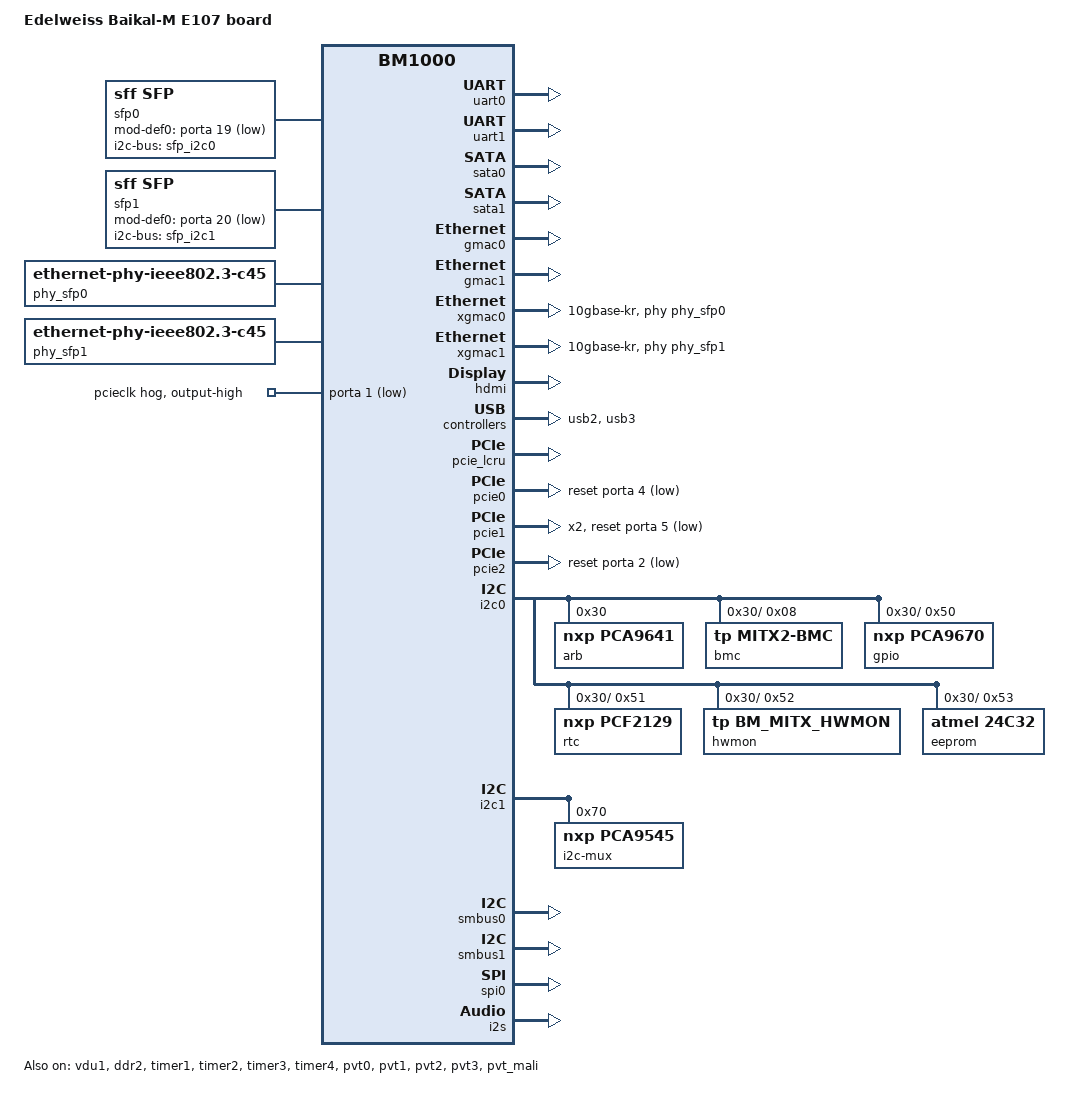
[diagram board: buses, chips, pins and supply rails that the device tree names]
// SPDX-License-Identifier: GPL-2.0
/*
 * Baikal-M Mini-ITX board device tree (test version)
 *
 */

/dts-v1/;

#include "bm1000.dtsi"

/ {

	model = "Edelweiss Baikal-M E107 board";
	compatible = "baikal,baikal-m";
	#address-cells = <2>;
	#size-cells = <2>;

	chosen { };

	sfp0: sfp0 {
		compatible = "sff,sfp";
		i2c-bus = <&sfp_i2c0>;
		mod-def0-gpios = <&porta 19 GPIO_ACTIVE_LOW>;
	};
	sfp1: sfp1 {
		compatible = "sff,sfp";
		i2c-bus = <&sfp_i2c1>;
		mod-def0-gpios = <&porta 20 GPIO_ACTIVE_LOW>;
	};
	phy_sfp0: xphy0 {
		compatible = "ethernet-phy-ieee802.3-c45";
		amd,speed-set = <0>;
		sfp = <&sfp0>;
	};
	phy_sfp1: xphy1 {
		compatible = "ethernet-phy-ieee802.3-c45";
		amd,speed-set = <0>;
		sfp = <&sfp1>;
	};
};

&cmu_cluster0 {
	clock-frequency = <1500000000>;
};

&cmu_cluster1 {
	clock-frequency = <1500000000>;
};

&cmu_cluster2 {
	clock-frequency = <1500000000>;
};

&cmu_cluster3 {
	clock-frequency = <1500000000>;
};

&uart0 {
	status = "okay";
};

&uart1 {
	status = "okay";
};

&sata0 {
	status = "okay";
};

&sata1 {
	status = "okay";
};

&gmac0 {
	status = "okay";
};

&gmac1 {
	status = "okay";
};

&xgmac0 {
	status = "okay";
	phy-handle = <&phy_sfp0>;
	phy-mode = "10gbase-kr";
	dma-coherent;
};

&xgmac1 {
	status = "okay";
	phy-handle = <&phy_sfp1>;
	phy-mode = "10gbase-kr";
	dma-coherent;
};

&hdmi {
	status = "okay";
};

&vdu1 {
	status = "okay";
};

&gpio {
	status = "okay";
};

&ddr2 {
	status = "okay";
};

&gpu {
	system-coherency = <0>;
};

&usb2 {
	status = "okay";
};

&usb3 {
	status = "okay";
};

&pcie_lcru {
	status = "okay";
};

&pcie0 {
	status = "okay";
	reset-gpios = <&porta 4 GPIO_ACTIVE_LOW>;
};

&pcie1 {
	status = "okay";
	reset-gpios = <&porta 5 GPIO_ACTIVE_LOW>;
	num-lanes = <2>;
};

&pcie2 {
	status = "okay";
	reset-gpios = <&porta 2 GPIO_ACTIVE_LOW>;
};

&timer1 {
	status = "okay";
};

&timer2 {
	status = "okay";
};

&timer3 {
	status = "okay";
};

&timer4 {
	status = "okay";
};

&pvt0 {
	status = "okay";
};

&pvt1 {
	status = "okay";
};

&pvt2 {
	status = "okay";
};

&pvt3 {
	status = "okay";
};

&pvt_mali {
	status = "okay";
};

&i2c0 {
	status = "okay";

	arb@30 {
		compatible = "nxp,pca9641";
		reg = <0x30>;

		i2c-arb {
			#address-cells = <1>;
			#size-cells = <0>;

			bmc@8 {
				compatible = "tp,mitx2-bmc", "t-platforms,mitx2-bmc";
				reg = <0x08>;
			};

			gpio@50 {
				compatible = "nxp,pca9670";
				#gpio-cells = <2>;
				gpio-controller;
				reg = <0x50>;
			};

			rtc@51 {
				compatible = "nxp,pcf2129", "nxp,pcf2127";
				reg = <0x51>;
			};

			hwmon@52 {
				compatible = "tp,bm_mitx_hwmon";
				reg = <0x52>;
			};

			eeprom@53 {
				compatible = "atmel,24c32";
				pagesize = <32>;
				reg = <0x53>;
			};
		};
	};
};

&i2c1 {
	status = "okay";

	i2c-mux@70 {
		compatible = "nxp,pca9545";
		#address-cells = <1>;
		#size-cells = <0>;
		reg = <0x70>;

		i2c@0 { /* M2_I2C */
			#address-cells = <1>;
			#size-cells = <0>;
			reg = <0>;
		};

		sfp_i2c0: i2c@1 { /* XGBE0 SFP */
			#address-cells = <1>;
			#size-cells = <0>;
			reg = <1>;
		};

		sfp_i2c1: i2c@2 { /* XGBE1 SFP */
			#address-cells = <1>;
			#size-cells = <0>;
			reg = <2>;
		};
	};
};

&smbus0 {
	status = "okay";
};

&smbus1 {
	status = "okay";
};

&spi0 {
	num-cs = <4>;

	cs-gpios = <0>;
	status = "okay";

};

&porta {
	pcieclk {
		line_name = "pcie-x8-clock";
		gpio-hog;
		gpios = <1 GPIO_ACTIVE_LOW>;
		output-high;
	};
};

&i2s {
	status = "okay";
	system-clock-frequency = <12000000>;
	#sound-dai-cells = <0>;
};

&gmac0_phy {
	reg = <2>;
};

&gmac1_phy {
	reg = <2>;
};
